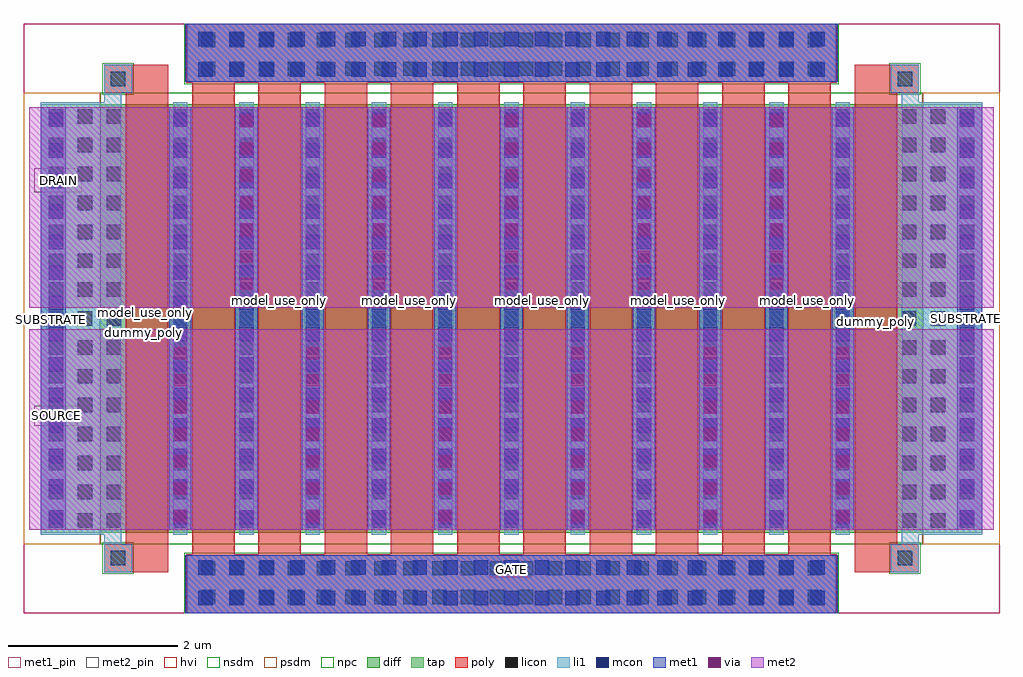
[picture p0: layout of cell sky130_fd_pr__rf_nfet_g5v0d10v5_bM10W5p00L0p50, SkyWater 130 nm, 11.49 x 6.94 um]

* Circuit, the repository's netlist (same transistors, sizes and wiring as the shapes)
* Copyright 2020 The SkyWater PDK Authors
*
* Licensed under the Apache License, Version 2.0 (the "License");
* you may not use this file except in compliance with the License.
* You may obtain a copy of the License at
*
*     https://www.apache.org/licenses/LICENSE-2.0
*
* Unless required by applicable law or agreed to in writing, software
* distributed under the License is distributed on an "AS IS" BASIS,
* WITHOUT WARRANTIES OR CONDITIONS OF ANY KIND, either express or implied.
* See the License for the specific language governing permissions and
* limitations under the License.
*
* SPDX-License-Identifier: Apache-2.0


.subckt sky130_fd_pr__rf_nfet_g5v0d10v5_bM10W5p00L0p50 DRAIN GATE SOURCE SUBSTRATE
X0 SOURCE GATE DRAIN SUBSTRATE sky130_fd_pr__nfet_g5v0d10v5 w=5.05e+06u l=500000u
X1 SOURCE GATE DRAIN SUBSTRATE sky130_fd_pr__nfet_g5v0d10v5 w=5.05e+06u l=500000u
X2 DRAIN GATE SOURCE SUBSTRATE sky130_fd_pr__nfet_g5v0d10v5 w=5.05e+06u l=500000u
X3 DRAIN GATE SOURCE SUBSTRATE sky130_fd_pr__nfet_g5v0d10v5 w=5.05e+06u l=500000u
X4 DRAIN GATE SOURCE SUBSTRATE sky130_fd_pr__nfet_g5v0d10v5 w=5.05e+06u l=500000u
X5 DRAIN GATE SOURCE SUBSTRATE sky130_fd_pr__nfet_g5v0d10v5 w=5.05e+06u l=500000u
X6 DRAIN GATE SOURCE SUBSTRATE sky130_fd_pr__nfet_g5v0d10v5 w=5.05e+06u l=500000u
X7 SUBSTRATE SUBSTRATE SOURCE SUBSTRATE sky130_fd_pr__nfet_g5v0d10v5 w=5.05e+06u l=500000u
X8 SOURCE SUBSTRATE SUBSTRATE SUBSTRATE sky130_fd_pr__nfet_g5v0d10v5 w=5.05e+06u l=500000u
X9 SOURCE GATE DRAIN SUBSTRATE sky130_fd_pr__nfet_g5v0d10v5 w=5.05e+06u l=500000u
X10 SOURCE GATE DRAIN SUBSTRATE sky130_fd_pr__nfet_g5v0d10v5 w=5.05e+06u l=500000u
X11 SOURCE GATE DRAIN SUBSTRATE sky130_fd_pr__nfet_g5v0d10v5 w=5.05e+06u l=500000u
.ends

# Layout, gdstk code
import gdstk
lib = gdstk.Library(unit=1e-6, precision=1e-09)
def R(c, l, rs):  # rectangles x0, y0, x1, y1
    for r in rs: c.add(gdstk.rectangle(r[:2], r[2:], *l))
def A(c, l, x, y, w, h, nx, ny, dx, dy):  # array of equal rectangles
    R(c, l, [(x+i*dx, y+j*dy, x+i*dx+w, y+j*dy+h) for i in range(nx) for j in range(ny)])
diff = (65, 20)
tap = (65, 44)
poly = (66, 20)
licon = (66, 44)
li1 = (67, 20)
mcon = (67, 44)
met1_pin = (68, 16)
met1 = (68, 20)
via = (68, 44)
met2_pin = (69, 16)
met2 = (69, 20)
hvi = (75, 20)
nsdm = (93, 44)
psdm = (94, 20)
npc = (95, 20)

sky130_fd_pr__rf_nfet_g5 = lib.new_cell('sky130_fd_pr__rf_nfet_g5v0d10v5_bM10W5p00L0p50')
R(sky130_fd_pr__rf_nfet_g5, diff, [(0.905,0.945,10.585,5.995)])
R(sky130_fd_pr__rf_nfet_g5, tap, [(0.205,0.945,0.905,5.995), (10.585,0.945,11.285,5.995)])
A(sky130_fd_pr__rf_nfet_g5, poly, 1.985, 0.695, 0.5, 5.55, 10, 1, 0.78, 0)
R(sky130_fd_pr__rf_nfet_g5, poly, [(1.915,0,9.575,0.695), (0.95,0.485,1.28,0.815), (1.205,0.485,1.705,6.455), (9.785,0.485,10.285,6.455), (10.21,0.485,10.54,0.815), (0.95,6.125,1.28,6.455), (10.21,6.125,10.54,6.455), (1.915,6.245,9.575,6.94)])
A(sky130_fd_pr__rf_nfet_g5, licon, 2.09, 0.105, 0.17, 0.17, 22, 2, 0.34, 0.34)
A(sky130_fd_pr__rf_nfet_g5, licon, 0.3, 1.005, 0.17, 0.17, 3, 15, 0.34, 0.34)
A(sky130_fd_pr__rf_nfet_g5, licon, 1.76, 1.005, 0.17, 0.17, 12, 15, 0.78, 0.34)
A(sky130_fd_pr__rf_nfet_g5, licon, 10.68, 1.005, 0.17, 0.17, 1, 15, 0, 0.34)
A(sky130_fd_pr__rf_nfet_g5, licon, 11.02, 1.005, 0.17, 0.17, 1, 15, 0, 0.34)
A(sky130_fd_pr__rf_nfet_g5, licon, 2.09, 6.325, 0.17, 0.17, 22, 2, 0.34, 0.34)
R(sky130_fd_pr__rf_nfet_g5, licon, [(1.03,0.565,1.2,0.735), (10.29,0.565,10.46,0.735), (1.03,6.205,1.2,6.375), (10.29,6.205,10.46,6.375)])
A(sky130_fd_pr__rf_nfet_g5, li1, 1.76, 0.925, 0.17, 5.09, 11, 1, 0.78, 0)
A(sky130_fd_pr__rf_nfet_g5, li1, 1.76, 2.125, 0.17, 2.69, 11, 1, 0.78, 0)
R(sky130_fd_pr__rf_nfet_g5, li1, [(1.925,0,9.565,0.685), (0.95,0.485,1.28,0.815), (10.21,0.485,10.54,0.815), (0.95,0.815,1.15,0.925), (10.34,0.815,10.54,0.925), (0.205,0.925,1.15,6.015), (10.34,0.925,11.285,6.015), (0.95,6.015,1.15,6.125), (10.34,6.015,10.54,6.125), (0.95,6.125,1.28,6.455), (10.21,6.125,10.54,6.455), (1.925,6.255,9.565,6.94)])
A(sky130_fd_pr__rf_nfet_g5, mcon, 2.06, 0.095, 0.17, 0.17, 21, 2, 0.36, 0.36)
A(sky130_fd_pr__rf_nfet_g5, mcon, 0.3, 1.045, 0.17, 0.17, 1, 14, 0, 0.36)
A(sky130_fd_pr__rf_nfet_g5, mcon, 1.76, 1.045, 0.17, 0.17, 11, 14, 0.78, 0.36)
A(sky130_fd_pr__rf_nfet_g5, mcon, 11.02, 1.045, 0.17, 0.17, 1, 14, 0, 0.36)
A(sky130_fd_pr__rf_nfet_g5, mcon, 2.06, 6.315, 0.17, 0.17, 21, 2, 0.36, 0.36)
R(sky130_fd_pr__rf_nfet_g5, met1_pin, [(5.49,0.425,5.975,0.6), (0.205,3.375,0.5,3.525), (10.99,3.395,11.285,3.545), (5.48,6.325,6.09,6.49)])
A(sky130_fd_pr__rf_nfet_g5, met1, 1.715, 0.985, 0.26, 2.24, 6, 1, 1.56, 0)
A(sky130_fd_pr__rf_nfet_g5, met1, 1.715, 0.985, 0.26, 4.97, 11, 1, 0.78, 0)
A(sky130_fd_pr__rf_nfet_g5, met1, 2.495, 3.715, 0.26, 2.24, 5, 1, 1.56, 0)
R(sky130_fd_pr__rf_nfet_g5, met1, [(1.905,0,9.585,0.685), (0.205,0.985,0.5,5.955), (10.99,0.985,11.285,5.955), (1.905,6.255,9.585,6.94)])
A(sky130_fd_pr__rf_nfet_g5, via, 1.77, 1.07, 0.15, 0.15, 6, 7, 1.56, 0.32)
A(sky130_fd_pr__rf_nfet_g5, via, 2.55, 3.8, 0.15, 0.15, 5, 7, 1.56, 0.32)
R(sky130_fd_pr__rf_nfet_g5, met2_pin, [(0.125,2.21,0.64,2.44), (0.125,4.955,0.685,5.24)])
A(sky130_fd_pr__rf_nfet_g5, met2, 1.715, 0.985, 0.26, 2.24, 6, 1, 1.56, 0)
A(sky130_fd_pr__rf_nfet_g5, met2, 2.495, 3.715, 0.26, 2.24, 5, 1, 1.56, 0)
R(sky130_fd_pr__rf_nfet_g5, met2, [(0.07,0.985,11.42,3.345), (0.07,3.595,11.42,5.955)])
R(sky130_fd_pr__rf_nfet_g5, hvi, [(0,0,11.49,6.94)])
R(sky130_fd_pr__rf_nfet_g5, nsdm, [(0.905,0.815,10.585,6.125)])
R(sky130_fd_pr__rf_nfet_g5, psdm, [(0,0.815,0.905,6.125), (10.585,0.815,11.49,6.125)])
R(sky130_fd_pr__rf_nfet_g5, npc, [(1.895,0,9.595,0.715), (0.93,0.465,1.3,0.835), (10.19,0.465,10.56,0.835), (0.93,6.105,1.3,6.475), (10.19,6.105,10.56,6.475), (1.895,6.225,9.595,6.94)])
sky130_fd_pr__rf_nfet_g5.add(gdstk.Label('dummy_poly', (10.025,3.435), layer=83, texttype=44))
sky130_fd_pr__rf_nfet_g5.add(gdstk.Label('dummy_poly', (1.415,3.3), layer=83, texttype=44))
sky130_fd_pr__rf_nfet_g5.add(gdstk.Label('GATE', (5.745,0.52), layer=68, texttype=5))
sky130_fd_pr__rf_nfet_g5.add(gdstk.Label('model_use_only', (9.23,3.685), layer=66, texttype=83))
sky130_fd_pr__rf_nfet_g5.add(gdstk.Label('model_use_only', (8.49,3.685), layer=66, texttype=83))
sky130_fd_pr__rf_nfet_g5.add(gdstk.Label('model_use_only', (7.71,3.685), layer=66, texttype=83))
sky130_fd_pr__rf_nfet_g5.add(gdstk.Label('model_use_only', (6.92,3.685), layer=66, texttype=83))
sky130_fd_pr__rf_nfet_g5.add(gdstk.Label('model_use_only', (6.115,3.685), layer=66, texttype=83))
sky130_fd_pr__rf_nfet_g5.add(gdstk.Label('model_use_only', (5.31,3.685), layer=66, texttype=83))
sky130_fd_pr__rf_nfet_g5.add(gdstk.Label('model_use_only', (4.545,3.685), layer=66, texttype=83))
sky130_fd_pr__rf_nfet_g5.add(gdstk.Label('model_use_only', (3.78,3.685), layer=66, texttype=83))
sky130_fd_pr__rf_nfet_g5.add(gdstk.Label('model_use_only', (3.015,3.685), layer=66, texttype=83))
sky130_fd_pr__rf_nfet_g5.add(gdstk.Label('model_use_only', (2.23,3.685), layer=66, texttype=83))
sky130_fd_pr__rf_nfet_g5.add(gdstk.Label('model_use_only', (9.99,3.555), layer=66, texttype=83))
sky130_fd_pr__rf_nfet_g5.add(gdstk.Label('model_use_only', (1.435,3.54), layer=66, texttype=83))
sky130_fd_pr__rf_nfet_g5.add(gdstk.Label('SUBSTRATE', (11.1,3.475), layer=68, texttype=16))
sky130_fd_pr__rf_nfet_g5.add(gdstk.Label('SUBSTRATE', (0.335,3.455), layer=68, texttype=16))
sky130_fd_pr__rf_nfet_g5.add(gdstk.Label('SOURCE', (0.385,2.325), layer=69, texttype=5))
sky130_fd_pr__rf_nfet_g5.add(gdstk.Label('DRAIN', (0.41,5.095), layer=69, texttype=5))

lib.write_gds('sky130_fd_pr__rf_nfet_g5v0d10v5_bM10W5p00L0p50.gds')
